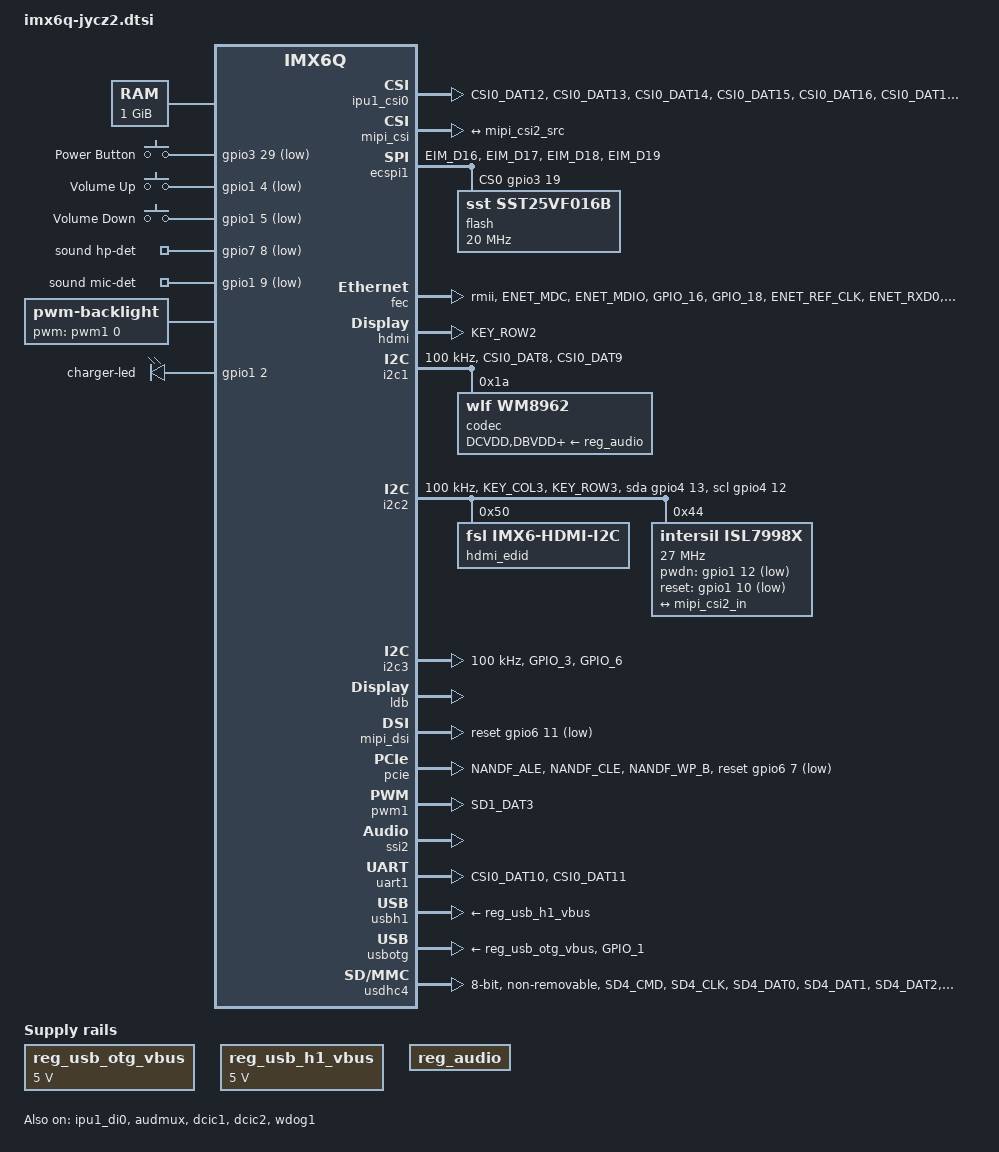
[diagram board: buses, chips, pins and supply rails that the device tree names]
/*
 * Copyright 2012-2016 Freescale Semiconductor, Inc.
 * Copyright 2011 Linaro Ltd.
 * Copyright 2017 NXP.
 *
 * The code contained herein is licensed under the GNU General Public
 * License. You may obtain a copy of the GNU General Public License
 * Version 2 or later at the following locations:
 *
 * http://www.opensource.org/licenses/gpl-license.html
 * http://www.gnu.org/copyleft/gpl.html
 */

#include <dt-bindings/clock/imx6qdl-clock.h>
#include <dt-bindings/gpio/gpio.h>
#include <dt-bindings/input/input.h>

/ {
	aliases {
		mxcfb0 = &mxcfb1;
		mxcfb1 = &mxcfb2;
		mxcfb2 = &mxcfb3;
		mxcfb3 = &mxcfb4;
	};

	hannstar_cabc {
		compatible = "hannstar,cabc";
		lvds0 {
			gpios = <&gpio6 15 GPIO_ACTIVE_HIGH>;
		};
		lvds1 {
			gpios = <&gpio6 16 GPIO_ACTIVE_HIGH>;
		};
	};

	chosen {
		stdout-path = &uart1;
	};

	memory: memory {
		reg = <0x10000000 0x40000000>;
	};

	regulators {
		compatible = "simple-bus";
		#address-cells = <1>;
		#size-cells = <0>;

		reg_usb_otg_vbus: regulator@0 {
			compatible = "regulator-fixed";
			reg = <0>;
			regulator-name = "usb_otg_vbus";
			regulator-min-microvolt = <5000000>;
			regulator-max-microvolt = <5000000>;
			enable-active-high;
		};

		reg_usb_h1_vbus: regulator@1 {
			compatible = "regulator-fixed";
			reg = <1>;
			regulator-name = "usb_h1_vbus";
			regulator-min-microvolt = <5000000>;
			regulator-max-microvolt = <5000000>;
			enable-active-high;
		};

		reg_audio: regulator@2 {
			compatible = "regulator-fixed";
			reg = <2>;
			regulator-name = "wm8962-supply";
			enable-active-high;
		};
	};

	gpio-keys {
		compatible = "gpio-keys";
		pinctrl-names = "default";
		pinctrl-0 = <&pinctrl_gpio_keys>;

		power {
			label = "Power Button";
			gpios = <&gpio3 29 GPIO_ACTIVE_LOW>;
			wakeup-source;
			linux,code = <KEY_POWER>;
		};

		volume-up {
			label = "Volume Up";
			gpios = <&gpio1 4 GPIO_ACTIVE_LOW>;
			wakeup-source;
			linux,code = <KEY_VOLUMEUP>;
		};

		volume-down {
			label = "Volume Down";
			gpios = <&gpio1 5 GPIO_ACTIVE_LOW>;
			wakeup-source;
			linux,code = <KEY_VOLUMEDOWN>;
		};
	};

	sound {
		compatible = "fsl,imx6q-sabresd-wm8962",
			   "fsl,imx-audio-wm8962";
		model = "wm8962-audio";
		cpu-dai = <&ssi2>;
		audio-codec = <&codec>;
		asrc-controller = <&asrc>;
		audio-routing =
			"Headphone Jack", "HPOUTL",
			"Headphone Jack", "HPOUTR",
			"Ext Spk", "SPKOUTL",
			"Ext Spk", "SPKOUTR",
			"AMIC", "MICBIAS",
			"IN3R", "AMIC",
			"DMIC", "MICBIAS",
			"DMICDAT", "DMIC",
			"CPU-Playback", "ASRC-Playback",
			"Playback", "CPU-Playback",
			"ASRC-Capture", "CPU-Capture",
			"CPU-Capture", "Capture";
		mux-int-port = <2>;
		mux-ext-port = <3>;
		codec-master;
		hp-det-gpios = <&gpio7 8 1>;
		mic-det-gpios = <&gpio1 9 1>;
	};

	sound-hdmi {
		compatible = "fsl,imx6q-audio-hdmi",
			     "fsl,imx-audio-hdmi";
		model = "imx-audio-hdmi";
		hdmi-controller = <&hdmi_audio>;
	};

	mxcfb1: fb@0 {
		compatible = "fsl,mxc_sdc_fb";
		disp_dev = "ldb";
		interface_pix_fmt = "RGB666";
		default_bpp = <16>;
		int_clk = <0>;
		late_init = <0>;
		status = "disabled";
	};

	mxcfb2: fb@1 {
		compatible = "fsl,mxc_sdc_fb";
		disp_dev = "hdmi";
		interface_pix_fmt = "RGB24";
		mode_str ="1920x1080M@60";
		default_bpp = <24>;
		int_clk = <0>;
		late_init = <0>;
		status = "disabled";
	};

	mxcfb3: fb@2 {
		compatible = "fsl,mxc_sdc_fb";
		disp_dev = "lcd";
		interface_pix_fmt = "RGB565";
		mode_str ="CLAA-WVGA";
		default_bpp = <16>;
		int_clk = <0>;
		late_init = <0>;
		status = "disabled";
	};

	mxcfb4: fb@3 {
		compatible = "fsl,mxc_sdc_fb";
		disp_dev = "ldb";
		interface_pix_fmt = "RGB666";
		default_bpp = <16>;
		int_clk = <0>;
		late_init = <0>;
		status = "disabled";
	};

	lcd@0 {
		compatible = "fsl,lcd";
		ipu_id = <0>;
		disp_id = <0>;
		default_ifmt = "RGB565";
		pinctrl-names = "default";
		pinctrl-0 = <&pinctrl_ipu1>;
		status = "okay";
	};

	backlight {
		compatible = "pwm-backlight";
		pwms = <&pwm1 0 5000000>;
		brightness-levels = <0 4 8 16 32 64 128 255>;
		default-brightness-level = <7>;
		status = "okay";
	};

	leds {
		compatible = "gpio-leds";
		pinctrl-names = "default";
		pinctrl-0 = <&pinctrl_gpio_leds>;

		charger-led {
			gpios = <&gpio1 2 0>;
			linux,default-trigger = "max8903-charger-charging";
			retain-state-suspended;
		};
	};

	v4l2_cap_0 {
		compatible = "fsl,imx6q-v4l2-capture";
		ipu_id = <0>;
		csi_id = <0>;
		mclk_source = <0>;
		status = "okay";
	};

	v4l2_cap_1 {
		compatible = "fsl,imx6q-v4l2-capture";
		ipu_id = <0>;
		csi_id = <1>;
		mclk_source = <0>;
		status = "okay";
	};

	v4l2_out {
		compatible = "fsl,mxc_v4l2_output";
		status = "okay";
	};
};

&ipu1_csi0_from_ipu1_csi0_mux {
	bus-width = <8>;
	data-shift = <12>; /* Lines 19:12 used */
	hsync-active = <1>;
	vsync-active = <1>;
};

&ipu1_csi0_mux_from_parallel_sensor {
	/* Downstream driver doesn't use endpoints */
	/*
	remote-endpoint = <&ov5642_to_ipu1_csi0_mux>;
	 */
};

&ipu1_csi0 {
	pinctrl-names = "default";
	pinctrl-0 = <&pinctrl_ipu1_csi0>;
};

&ipu1_di0 {
	status = "okay";
};

&mipi_csi {
	status = "okay";
};

&audmux {
	pinctrl-names = "default";
	pinctrl-0 = <&pinctrl_audmux>;
	status = "okay";
};

&clks {
	assigned-clocks = <&clks IMX6QDL_CLK_LDB_DI0_SEL>,
			  <&clks IMX6QDL_CLK_LDB_DI1_SEL>;
	assigned-clock-parents = <&clks IMX6QDL_CLK_PLL2_PFD0_352M>,
				 <&clks IMX6QDL_CLK_PLL2_PFD0_352M>;
};

&ecspi1 {
	cs-gpios = <&gpio3 19 0>;
	pinctrl-names = "default";
	pinctrl-0 = <&pinctrl_ecspi1>;
	status = "okay";

	flash: m25p80@0 {
		#address-cells = <1>;
		#size-cells = <1>;
		compatible = "sst,sst25vf016b";
		spi-max-frequency = <20000000>;
		reg = <0>;
	};
};

&fec {
	pinctrl-names = "default";
	pinctrl-0 = <&pinctrl_enet>;
	phy-mode = "rmii";
	phy-reset-gpios = <&gpio1 23 GPIO_ACTIVE_HIGH>;
	fsl,magic-packet;
	status = "okay";
};

&gpc {
	fsl,ldo-bypass = <1>;
	fsl,wdog-reset = <1>;
};

&dcic1 {
	dcic_id = <0>;
	dcic_mux = "dcic-hdmi";
	status = "okay";
};

&dcic2 {
	dcic_id = <1>;
	dcic_mux = "dcic-lvds1";
	status = "okay";
};

&hdmi_audio {
	status = "disabled";
};

&hdmi_cec {
	pinctrl-names = "default";
	pinctrl-0 = <&pinctrl_hdmi_cec>;
	status = "disabled";
};

&hdmi_core {
	ipu_id = <0>;
	disp_id = <0>;
	status = "disabled";
};

&hdmi_video {
	fsl,phy_reg_vlev = <0x0294>;
	fsl,phy_reg_cksymtx = <0x800d>;
	status = "disabled";
};

&hdmi {
	pinctrl-names = "default";
	pinctrl-0 = <&pinctrl_hdmi_cec>;
	ddc-i2c-bus = <&i2c2>;
	status = "okay";
};

&i2c1 {
	clock-frequency = <100000>;
	pinctrl-names = "default";
	pinctrl-0 = <&pinctrl_i2c1>;
	status = "okay";

	codec: wm8962@1a {
		compatible = "wlf,wm8962";
		reg = <0x1a>;
		clocks = <&clks IMX6QDL_CLK_CKO>;
		DCVDD-supply = <&reg_audio>;
		DBVDD-supply = <&reg_audio>;
		AVDD-supply = <&reg_audio>;
		CPVDD-supply = <&reg_audio>;
		MICVDD-supply = <&reg_audio>;
		PLLVDD-supply = <&reg_audio>;
		SPKVDD1-supply = <&reg_audio>;
		SPKVDD2-supply = <&reg_audio>;
		gpio-cfg = <
			0x0000 /* 0:Default */
			0x0000 /* 1:Default */
			0x0013 /* 2:FN_DMICCLK */
			0x0000 /* 3:Default */
			0x8014 /* 4:FN_DMICCDAT */
			0x0000 /* 5:Default */
		>;
		amic-mono;
	};
};

&i2c2 {
	clock-frequency = <100000>;
	pinctrl-names = "default", "gpio";
	pinctrl-0 = <&pinctrl_i2c2>;
	pinctrl-1 = <&pinctrl_i2c2_gpio>;
	scl-gpios = <&gpio4 12 GPIO_ACTIVE_HIGH>;
	sda-gpios = <&gpio4 13 GPIO_ACTIVE_HIGH>;
	status = "okay";

	hdmi_edid: edid@50 {
		compatible = "fsl,imx6-hdmi-i2c";
		reg = <0x50>;
	};

	isl7998x: isl7998x@44 {
		compatible = "intersil,isl7998x";
		pinctrl-names = "default";
		pinctrl-0 = <&pinctrl_isl7998x>;
		reg = <0x44>;
		clocks = <&clks IMX6QDL_CLK_CKO>;
		clock-names = "xclk";
		clock-frequency = <27000000>;
		pwdn-gpios = <&gpio1 12 GPIO_ACTIVE_LOW>;
		reset-gpios = <&gpio1 10 GPIO_ACTIVE_LOW>;

		port {
			mipi_csi2_src: endpoint {
				remote-endpoint = <&mipi_csi2_in>;
				clock-lanes = <0>;
				data-lanes = <1 2>;
			};
		};
	};
};

&i2c3 {
	clock-frequency = <100000>;
	pinctrl-names = "default";
	pinctrl-0 = <&pinctrl_i2c3>;
	status = "okay";
};

&iomuxc {
	pinctrl-names = "default";
	pinctrl-0 = <&pinctrl_hog>;

	imx6q-jycz2 {
		pinctrl_hog: hoggrp {
			fsl,pins = <
				MX6QDL_PAD_NANDF_CS0__GPIO6_IO11	0x80000000
				MX6QDL_PAD_NANDF_CS1__GPIO6_IO14	0x80000000
				MX6QDL_PAD_NANDF_CS2__GPIO6_IO15	0x80000000
				MX6QDL_PAD_NANDF_CS3__GPIO6_IO16	0x80000000
			>;
		};

		pinctrl_audmux: audmuxgrp {
			fsl,pins = <
				MX6QDL_PAD_CSI0_DAT4__AUD3_TXC		0x130b0
				MX6QDL_PAD_CSI0_DAT5__AUD3_TXD		0x110b0
				MX6QDL_PAD_CSI0_DAT6__AUD3_TXFS		0x130b0
				MX6QDL_PAD_CSI0_DAT7__AUD3_RXD		0x130b0
			>;
		};

		pinctrl_ecspi1: ecspi1grp {
			fsl,pins = <
				MX6QDL_PAD_EIM_D16__ECSPI1_SCLK		0x100b1
				MX6QDL_PAD_EIM_D17__ECSPI1_MISO		0x100b1
				MX6QDL_PAD_EIM_D18__ECSPI1_MOSI		0x100b1
				MX6QDL_PAD_EIM_D19__GPIO3_IO19		0x1b0b0
			>;
		};

		pinctrl_i2c2_egalax_int: egalax_i2c2_intgrp {
			fsl,pins = <
				MX6QDL_PAD_NANDF_ALE__GPIO6_IO08	0x80000000
			>;
		};

		pinctrl_i2c3_egalax_int: egalax_i2c3_intgrp {
			fsl,pins = <
				MX6QDL_PAD_NANDF_CLE__GPIO6_IO07	0x80000000
			>;
		};

		pinctrl_enet: enetgrp {
			fsl,pins = <
				/* MDIO */
				MX6QDL_PAD_ENET_MDC__ENET_MDC		0x1b0b0
				MX6QDL_PAD_ENET_MDIO__ENET_MDIO		0x1b0b0
				/* REFCLK */
				MX6QDL_PAD_GPIO_16__ENET_REF_CLK	0x4001b0a8
				MX6QDL_PAD_GPIO_18__GPIO7_IO13		0x000b1
				/* RST */
				MX6QDL_PAD_ENET_REF_CLK__GPIO1_IO23	0x80000000
				/* RX */
				MX6QDL_PAD_ENET_RXD0__ENET_RX_DATA0	0x1b0b0
				MX6QDL_PAD_ENET_RXD1__ENET_RX_DATA1	0x1b0b0
				MX6QDL_PAD_ENET_CRS_DV__ENET_RX_EN	0x1b0b0
				MX6QDL_PAD_ENET_RX_ER__ENET_RX_ER	0x1b0b0
				/* TX */
				MX6QDL_PAD_ENET_TXD0__ENET_TX_DATA0	0x1b0b0
				MX6QDL_PAD_ENET_TXD1__ENET_TX_DATA1	0x1b0b0
				MX6QDL_PAD_ENET_TX_EN__ENET_TX_EN	0x1b0b0
			>;
		};

		pinctrl_enet_irq: enetirqgrp {
			fsl,pins = <
				MX6QDL_PAD_GPIO_6__ENET_IRQ		0x000b1
			>;
		};

		pinctrl_gpio_keys: gpio_keysgrp {
			fsl,pins = <
				MX6QDL_PAD_EIM_D29__GPIO3_IO29		0x1b0b0
				MX6QDL_PAD_GPIO_4__GPIO1_IO04		0x1b0b0
				MX6QDL_PAD_GPIO_5__GPIO1_IO05		0x1b0b0
			>;
		};

		pinctrl_hdmi_cec: hdmicecgrp {
			fsl,pins = <
				MX6QDL_PAD_KEY_ROW2__HDMI_TX_CEC_LINE	0x108b0
			>;
		};

		pinctrl_hdmi_hdcp: hdmihdcpgrp {
			fsl,pins = <
				MX6QDL_PAD_KEY_COL3__HDMI_TX_DDC_SCL	0x4001b8b1
				MX6QDL_PAD_KEY_ROW3__HDMI_TX_DDC_SDA	0x4001b8b1
			>;
		};

		pinctrl_i2c1: i2c1grp {
			fsl,pins = <
				MX6QDL_PAD_CSI0_DAT8__I2C1_SDA		0x4001b8b1
				MX6QDL_PAD_CSI0_DAT9__I2C1_SCL		0x4001b8b1
			>;
		};

		pinctrl_i2c2: i2c2grp {
			fsl,pins = <
				MX6QDL_PAD_KEY_COL3__I2C2_SCL		0x4001b8b1
				MX6QDL_PAD_KEY_ROW3__I2C2_SDA		0x4001b8b1
			>;
		};

		pinctrl_i2c2_gpio: i2c2_gpio_grp {
			fsl,pins = <
				MX6QDL_PAD_KEY_COL3__GPIO4_IO12		0x1b0b0
				MX6QDL_PAD_KEY_ROW3__GPIO4_IO13		0x1b0b0
			>;
		};

		pinctrl_i2c3: i2c3grp {
			fsl,pins = <
				MX6QDL_PAD_GPIO_3__I2C3_SCL		0x4001b8b1
				MX6QDL_PAD_GPIO_6__I2C3_SDA		0x4001b8b1
			>;
		};

		pinctrl_ipu1: ipu1grp {
			fsl,pins = <
				MX6QDL_PAD_DI0_DISP_CLK__IPU1_DI0_DISP_CLK 0x10
				MX6QDL_PAD_DI0_PIN15__IPU1_DI0_PIN15       0x10
				MX6QDL_PAD_DI0_PIN2__IPU1_DI0_PIN02        0x10
				MX6QDL_PAD_DI0_PIN3__IPU1_DI0_PIN03        0x10
				MX6QDL_PAD_DI0_PIN4__IPU1_DI0_PIN04        0x80000000
				MX6QDL_PAD_DISP0_DAT0__IPU1_DISP0_DATA00   0x10
				MX6QDL_PAD_DISP0_DAT1__IPU1_DISP0_DATA01   0x10
				MX6QDL_PAD_DISP0_DAT2__IPU1_DISP0_DATA02   0x10
				MX6QDL_PAD_DISP0_DAT3__IPU1_DISP0_DATA03   0x10
				MX6QDL_PAD_DISP0_DAT4__IPU1_DISP0_DATA04   0x10
				MX6QDL_PAD_DISP0_DAT5__IPU1_DISP0_DATA05   0x10
				MX6QDL_PAD_DISP0_DAT6__IPU1_DISP0_DATA06   0x10
				MX6QDL_PAD_DISP0_DAT7__IPU1_DISP0_DATA07   0x10
				MX6QDL_PAD_DISP0_DAT8__IPU1_DISP0_DATA08   0x10
				MX6QDL_PAD_DISP0_DAT9__IPU1_DISP0_DATA09   0x10
				MX6QDL_PAD_DISP0_DAT10__IPU1_DISP0_DATA10  0x10
				MX6QDL_PAD_DISP0_DAT11__IPU1_DISP0_DATA11  0x10
				MX6QDL_PAD_DISP0_DAT12__IPU1_DISP0_DATA12  0x10
				MX6QDL_PAD_DISP0_DAT13__IPU1_DISP0_DATA13  0x10
				MX6QDL_PAD_DISP0_DAT14__IPU1_DISP0_DATA14  0x10
				MX6QDL_PAD_DISP0_DAT15__IPU1_DISP0_DATA15  0x10
				MX6QDL_PAD_DISP0_DAT16__IPU1_DISP0_DATA16  0x10
				MX6QDL_PAD_DISP0_DAT17__IPU1_DISP0_DATA17  0x10
				MX6QDL_PAD_DISP0_DAT18__IPU1_DISP0_DATA18  0x10
				MX6QDL_PAD_DISP0_DAT19__IPU1_DISP0_DATA19  0x10
				MX6QDL_PAD_DISP0_DAT20__IPU1_DISP0_DATA20  0x10
				MX6QDL_PAD_DISP0_DAT21__IPU1_DISP0_DATA21  0x10
				MX6QDL_PAD_DISP0_DAT22__IPU1_DISP0_DATA22  0x10
				MX6QDL_PAD_DISP0_DAT23__IPU1_DISP0_DATA23  0x10
			>;
		};

		pinctrl_ipu1_2: ipu1grp-2 { /* parallel camera */
			fsl,pins = <
				MX6QDL_PAD_CSI0_DAT12__IPU1_CSI0_DATA12    0x80000000
				MX6QDL_PAD_CSI0_DAT13__IPU1_CSI0_DATA13    0x80000000
				MX6QDL_PAD_CSI0_DAT14__IPU1_CSI0_DATA14    0x80000000
				MX6QDL_PAD_CSI0_DAT15__IPU1_CSI0_DATA15    0x80000000
				MX6QDL_PAD_CSI0_DAT16__IPU1_CSI0_DATA16    0x80000000
				MX6QDL_PAD_CSI0_DAT17__IPU1_CSI0_DATA17    0x80000000
				MX6QDL_PAD_CSI0_DAT18__IPU1_CSI0_DATA18    0x80000000
				MX6QDL_PAD_CSI0_DAT19__IPU1_CSI0_DATA19    0x80000000
				MX6QDL_PAD_CSI0_DATA_EN__IPU1_CSI0_DATA_EN 0x80000000
				MX6QDL_PAD_CSI0_PIXCLK__IPU1_CSI0_PIXCLK   0x80000000
				MX6QDL_PAD_CSI0_MCLK__IPU1_CSI0_HSYNC      0x80000000
				MX6QDL_PAD_CSI0_VSYNC__IPU1_CSI0_VSYNC     0x80000000
				MX6QDL_PAD_SD1_DAT1__GPIO1_IO17            0x80000000
				MX6QDL_PAD_SD1_DAT0__GPIO1_IO16            0x80000000
			>;
		};

		pinctrl_ipu1_csi0: ipu1csi0grp {
			fsl,pins = <
				MX6QDL_PAD_CSI0_DAT12__IPU1_CSI0_DATA12    0x1b0b0
				MX6QDL_PAD_CSI0_DAT13__IPU1_CSI0_DATA13    0x1b0b0
				MX6QDL_PAD_CSI0_DAT14__IPU1_CSI0_DATA14    0x1b0b0
				MX6QDL_PAD_CSI0_DAT15__IPU1_CSI0_DATA15    0x1b0b0
				MX6QDL_PAD_CSI0_DAT16__IPU1_CSI0_DATA16    0x1b0b0
				MX6QDL_PAD_CSI0_DAT17__IPU1_CSI0_DATA17    0x1b0b0
				MX6QDL_PAD_CSI0_DAT18__IPU1_CSI0_DATA18    0x1b0b0
				MX6QDL_PAD_CSI0_DAT19__IPU1_CSI0_DATA19    0x1b0b0
				MX6QDL_PAD_CSI0_PIXCLK__IPU1_CSI0_PIXCLK   0x1b0b0
				MX6QDL_PAD_CSI0_MCLK__IPU1_CSI0_HSYNC      0x1b0b0
				MX6QDL_PAD_CSI0_VSYNC__IPU1_CSI0_VSYNC     0x1b0b0
			>;
		};


		pinctrl_isl7998x: isl7998xgrp {
			fsl,pins = <
				/* ISL7998X_RST */
				MX6QDL_PAD_SD2_CLK__GPIO1_IO10		0x80000000
				/* ISL7998X_INT */
				MX6QDL_PAD_SD2_CMD__GPIO1_IO11		0x80000000
				/* ISL7998X_PD */
				MX6QDL_PAD_SD2_DAT3__GPIO1_IO12		0x80000000
				/* ISL7998X_MPP1 */
				MX6QDL_PAD_SD2_DAT1__GPIO1_IO14		0x80000000
				/* ISL7998X_MPP2 */
				MX6QDL_PAD_SD2_DAT0__GPIO1_IO15		0x80000000
			>;
		};

		pinctrl_ov5640: ov5640grp {
			fsl,pins = <
				MX6QDL_PAD_SD1_DAT2__GPIO1_IO19		0x1b0b0
				MX6QDL_PAD_SD1_CLK__GPIO1_IO20		0x1b0b0
			>;
		};

		pinctrl_ov5642: ov5642grp {
			fsl,pins = <
				MX6QDL_PAD_SD1_DAT0__GPIO1_IO16		0x1b0b0
				MX6QDL_PAD_SD1_DAT1__GPIO1_IO17		0x1b0b0
			>;
		};

		pinctrl_pcie: pciegrp {
			fsl,pins = <
				MX6QDL_PAD_NANDF_ALE__GPIO6_IO08	0x80000000
				MX6QDL_PAD_NANDF_CLE__GPIO6_IO07	0x80000000
				MX6QDL_PAD_NANDF_WP_B__GPIO6_IO09	0x80000000
			>;
		};

		pinctrl_pwm1: pwm1grp {
			fsl,pins = <
				MX6QDL_PAD_SD1_DAT3__PWM1_OUT		0x1b0b1
			>;
		};

		pinctrl_uart1: uart1grp {
			fsl,pins = <
				MX6QDL_PAD_CSI0_DAT10__UART1_TX_DATA	0x1b0b1
				MX6QDL_PAD_CSI0_DAT11__UART1_RX_DATA	0x1b0b1
			>;
		};

		pinctrl_uart4: uart4grp {
			fsl,pins = <
				MX6QDL_PAD_KEY_COL0__UART4_TX_DATA	0x1b0b1
				MX6QDL_PAD_KEY_ROW0__UART4_RX_DATA	0x1b0b1
			>;
		};

		pinctrl_uart5_1: uart5grp-1 {
			fsl,pins = <
				MX6QDL_PAD_KEY_COL1__UART5_TX_DATA	0x1b0b1
				MX6QDL_PAD_KEY_ROW1__UART5_RX_DATA	0x1b0b1
				MX6QDL_PAD_KEY_COL4__UART5_RTS_B	0x1b0b1
				MX6QDL_PAD_KEY_ROW4__UART5_CTS_B	0x1b0b1
			>;
		};

		pinctrl_uart5dte_1: uart5dtegrp-1 {
			fsl,pins = <
				MX6QDL_PAD_KEY_ROW1__UART5_TX_DATA	0x1b0b1
				MX6QDL_PAD_KEY_COL1__UART5_RX_DATA	0x1b0b1
				MX6QDL_PAD_KEY_ROW4__UART5_RTS_B	0x1b0b1
				MX6QDL_PAD_KEY_COL4__UART5_CTS_B	0x1b0b1
			>;
		};

		pinctrl_usbotg: usbotggrp {
			fsl,pins = <
				MX6QDL_PAD_GPIO_1__USB_OTG_ID		0x17059
			>;
		};

		pinctrl_usdhc1: usdhc1grp {
			fsl,pins = <
				MX6QDL_PAD_SD1_CLK__GPIO1_IO20		0x80000000
				MX6QDL_PAD_SD1_DAT0__GPIO1_IO16		0x80000000
				MX6QDL_PAD_SD1_DAT1__GPIO1_IO17		0x1b0b0
				MX6QDL_PAD_SD1_DAT2__GPIO1_IO19		0x80000000
				MX6QDL_PAD_SD1_DAT3__PWM1_OUT		0x1b0b1
			>;
		};

		pinctrl_usdhc2: usdhc2grp {
			fsl,pins = <
				MX6QDL_PAD_SD2_CMD__SD2_CMD		0x17059
				MX6QDL_PAD_SD2_CLK__SD2_CLK		0x10059
				MX6QDL_PAD_SD2_DAT0__SD2_DATA0		0x17059
				MX6QDL_PAD_SD2_DAT1__SD2_DATA1		0x17059
				MX6QDL_PAD_SD2_DAT2__SD2_DATA2		0x17059
				MX6QDL_PAD_SD2_DAT3__SD2_DATA3		0x17059
			>;
		};

		pinctrl_usdhc3: usdhc3grp {
			fsl,pins = <
				MX6QDL_PAD_SD3_CMD__SD3_CMD		0x17059
				MX6QDL_PAD_SD3_CLK__SD3_CLK		0x10059
				MX6QDL_PAD_SD3_DAT0__SD3_DATA0		0x17059
				MX6QDL_PAD_SD3_DAT1__SD3_DATA1		0x17059
				MX6QDL_PAD_SD3_DAT2__SD3_DATA2		0x17059
				MX6QDL_PAD_SD3_DAT3__SD3_DATA3		0x17059
				MX6QDL_PAD_SD3_RST__GPIO7_IO08		0x80000000
			>;
		};

		pinctrl_usdhc4: usdhc4grp {
			fsl,pins = <
				MX6QDL_PAD_SD4_CMD__SD4_CMD		0x17059
				MX6QDL_PAD_SD4_CLK__SD4_CLK		0x10059
				MX6QDL_PAD_SD4_DAT0__SD4_DATA0		0x17059
				MX6QDL_PAD_SD4_DAT1__SD4_DATA1		0x17059
				MX6QDL_PAD_SD4_DAT2__SD4_DATA2		0x17059
				MX6QDL_PAD_SD4_DAT3__SD4_DATA3		0x17059
				MX6QDL_PAD_SD4_DAT4__SD4_DATA4		0x17059
				MX6QDL_PAD_SD4_DAT5__SD4_DATA5		0x17059
				MX6QDL_PAD_SD4_DAT6__SD4_DATA6		0x17059
				MX6QDL_PAD_SD4_DAT7__SD4_DATA7		0x17059
			>;
		};

		pinctrl_wdog: wdoggrp {
			fsl,pins = <
				MX6QDL_PAD_GPIO_1__WDOG2_B		0x80000000
			>;
		};
	};

	gpio_leds {
		pinctrl_gpio_leds: gpioledsgrp {
			fsl,pins = <
				MX6QDL_PAD_GPIO_2__GPIO1_IO02		0x1b0b0
			>;
		};
	};
};

&ldb {
	status = "okay";

	lvds-channel@0 {
		fsl,data-mapping = "spwg";
		fsl,data-width = <18>;
		status = "okay";

		display-timings {
			native-mode = <&timing0>;
			timing0: hsd100pxn1 {
				clock-frequency = <65000000>;
				hactive = <1024>;
				vactive = <768>;
				hback-porch = <220>;
				hfront-porch = <40>;
				vback-porch = <21>;
				vfront-porch = <7>;
				hsync-len = <60>;
				vsync-len = <10>;
			};
		};
	};

	lvds-channel@1 {
		fsl,data-mapping = "spwg";
		fsl,data-width = <18>;
		primary;
		status = "okay";

		display-timings {
			native-mode = <&timing1>;
			timing1: hsd100pxn1 {
				clock-frequency = <65000000>;
				hactive = <1024>;
				vactive = <768>;
				hback-porch = <220>;
				hfront-porch = <40>;
				vback-porch = <21>;
				vfront-porch = <7>;
				hsync-len = <60>;
				vsync-len = <10>;
			};
		};
	};
};

&mipi_csi {
	status = "okay";
	ipu_id = <0>;
	csi_id = <1>;
	v_channel = <0>;
	lanes = <2>;

	port@0 {
		reg = <0>;

		mipi_csi2_in: endpoint {
			remote-endpoint = <&mipi_csi2_src>;
			clock-lanes = <0>;
			data-lanes = <1 2>;
		};
	};
};

&mipi_dsi {
	dev_id = <0>;
	disp_id = <1>;
	lcd_panel = "TRULY-WVGA";
	reset-gpios = <&gpio6 11 GPIO_ACTIVE_LOW>;
	reset-delay-us = <50>;
	status = "okay";
};

&pcie {
	pinctrl-names = "default";
	pinctrl-0 = <&pinctrl_pcie>;
	reset-gpio = <&gpio6 7 GPIO_ACTIVE_LOW>;
	status = "okay";
};

&pwm1 {
	pinctrl-names = "default";
	pinctrl-0 = <&pinctrl_pwm1>;
	status = "okay";
};

&snvs_poweroff {
	status = "okay";
};

&ssi2 {
	assigned-clocks = <&clks IMX6QDL_CLK_PLL4>,
			  <&clks IMX6QDL_PLL4_BYPASS>,
			  <&clks IMX6QDL_CLK_SSI2_SEL>;
	assigned-clock-parents = <&clks IMX6QDL_CLK_OSC>,
				 <&clks IMX6QDL_CLK_PLL4>,
				 <&clks IMX6QDL_CLK_PLL4_AUDIO_DIV>;
	assigned-clock-rates = <737280000>, <0>, <0>;
	status = "okay";
};

&uart1 {
	pinctrl-names = "default";
	pinctrl-0 = <&pinctrl_uart1>;
	status = "okay";
};

&usbh1 {
	vbus-supply = <&reg_usb_h1_vbus>;
	status = "okay";
};

&usbotg {
	vbus-supply = <&reg_usb_otg_vbus>;
	pinctrl-names = "default";
	pinctrl-0 = <&pinctrl_usbotg>;
	disable-over-current;
	srp-disable;
	hnp-disable;
	adp-disable;
	status = "okay";
};

&usbphy1 {
	fsl,tx-d-cal = <106>;
};

&usbphy2 {
	fsl,tx-d-cal = <106>;
};

&usdhc1 {
	pinctrl-names = "default";
	pinctrl-0 = <&pinctrl_usdhc4>;
	bus-width = <4>;
	status = "disabled";
};

&usdhc2 {
	pinctrl-names = "default";
	pinctrl-0 = <&pinctrl_usdhc2>;
	bus-width = <4>;
	cd-gpios = <&gpio2 2 GPIO_ACTIVE_LOW>;
	wp-gpios = <&gpio2 3 GPIO_ACTIVE_HIGH>;
	no-1-8-v;
	keep-power-in-suspend;
	enable-sdio-wakeup;
	status = "disabled";
};

&usdhc3 {
	pinctrl-names = "default";
	pinctrl-0 = <&pinctrl_usdhc3>;
	bus-width = <4>;
	cd-gpios = <&gpio2 0 GPIO_ACTIVE_LOW>;
	wp-gpios = <&gpio2 1 GPIO_ACTIVE_HIGH>;
	no-1-8-v;
	keep-power-in-suspend;
	enable-sdio-wakeup;
	status = "disabled";
};

&usdhc4 {
	pinctrl-names = "default";
	pinctrl-0 = <&pinctrl_usdhc4>;
	bus-width = <8>;
	non-removable;
	no-1-8-v;
	keep-power-in-suspend;
	status = "okay";
};

&wdog1 {
	status = "okay";
};

&wdog2 {
	pinctrl-names = "default";
	pinctrl-0 = <&pinctrl_wdog>;
	fsl,ext-reset-output;
	status = "disabled";
};
